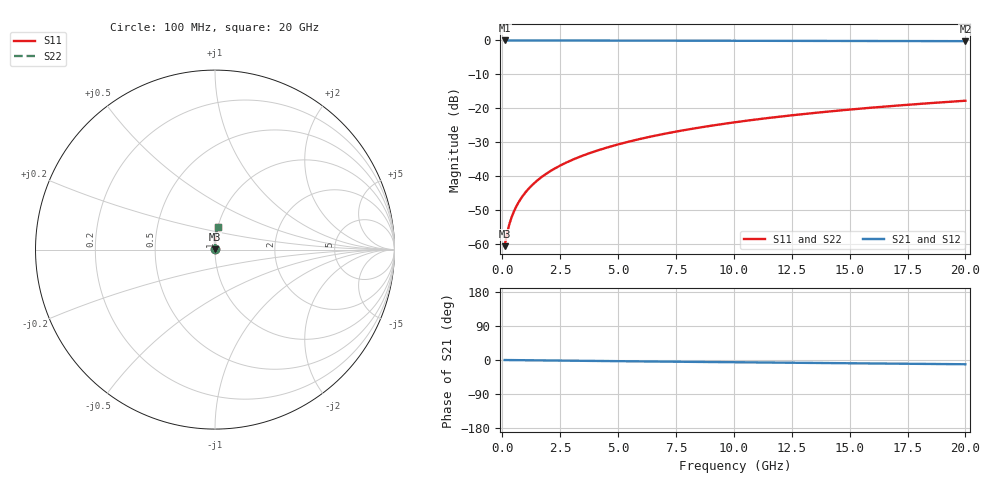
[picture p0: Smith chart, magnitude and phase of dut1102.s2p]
! Touchstone file exported from HFSS 2024.1.0
!  File:  C:/UserFiles/LocalFiles/RDL_TSV_Batchsim/temp_RDL_bottom_1102_1780054061.aedt
!  Generated:  07:29:59 PM May 29, 2026
!  Design:  RDL_bottom
!  Project:  temp_RDL_bottom_1102_1780054061
!  Setup:  Setup1
!  Solution:  Sweep
! Variables:
!  dtsv = 10.80580581um
!  hbump = 3um
!  htsv = 58.62um
!  ldown = 129.43um
!  lrdl = 100um
!  p = 40
!  p1 = 48.9um
!  rhole = 1um
!  t = 450um
!  tdown = 4.1um
!  trdl = 3.915915916um
!  wdown = 21.9um
!  wrdl = 20um
# GHz S MA R 50.000000
! Terminal data exported
! Port[1] = RDL1_T1
! Port[2] = RDL1_T2
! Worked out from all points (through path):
!   200 points, 100 MHz to 20 GHz, reference 50 ohm
!   highest |S21| = -0.01 dB at 100 MHz (marker M1); lowest = -0.2 dB at 20 GHz (marker M2)
!   group delay of S21, straight-line fit = 1.54 ps
!   lowest |S11| = -60.6 dB at 100 MHz (marker M3), VSWR 1.00, Z = 50.1 + j0.0617 ohm
!   |S11| at or under -10 dB: start of sweep to end of sweep
!   |S22| runs from -60.6 to -17.8 dB; largest |S21 - S12| = 3e-15
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0.1  0.0009329 41.3  0.9993 -0.1  0.9993 -0.1  0.0009329 41.3
! Gamma 0 0 0 0
! Port Impedance 50 0 50 0
0.2  0.001414 58.8  0.9993 -0.1  0.9993 -0.1  0.001414 58.8
0.3  0.001939 66.9  0.9992 -0.2  0.9992 -0.2  0.001939 66.9
0.4  0.002473 71.6  0.9992 -0.3  0.9992 -0.3  0.002473 71.6
0.5  0.003014 74.7  0.9991 -0.3  0.9991 -0.3  0.003014 74.7
0.6  0.003559 77.0  0.9991 -0.4  0.9991 -0.4  0.003559 77.0
0.8  0.004662 80.2  0.999 -0.5  0.999 -0.5  0.004662 80.2
1.1  0.006338 83.0  0.9989 -0.7  0.9989 -0.7  0.006338 83.0
1.5  0.008598 85.1  0.9987 -1.0  0.9987 -1.0  0.008598 85.1
1.8  0.01031 86.2  0.9985 -1.2  0.9985 -1.2  0.01031 86.2
2.1  0.01203 87.0  0.9983 -1.3  0.9983 -1.3  0.01203 87.0
2.7  0.01552 88.1  0.9978 -1.7  0.9978 -1.7  0.01552 88.1
3.5  0.02025 89.0  0.997 -2.2  0.997 -2.2  0.02025 89.0
4.2  0.02448 89.5  0.9961 -2.6  0.9961 -2.6  0.02448 89.5
5  0.0294 89.9  0.9951 -3.1  0.9951 -3.1  0.0294 89.8
5.9  0.03506 90.0  0.9939 -3.6  0.9939 -3.6  0.03506 90.0
6.8  0.04084 90.0  0.9926 -4.2  0.9926 -4.2  0.04084 90.0
8.4  0.05133 89.6  0.9904 -5.1  0.9904 -5.1  0.05133 89.6
10.1  0.06269 88.9  0.9881 -6.0  0.9881 -6.0  0.06268 88.9
13.4  0.08501 87.1  0.9839 -7.8  0.9839 -7.8  0.08501 87.0
16.7  0.1073 85.0  0.9798 -9.5  0.9798 -9.5  0.1073 85.0
20  0.1294 82.9  0.9757 -11.2  0.9757 -11.2  0.1294 82.9
